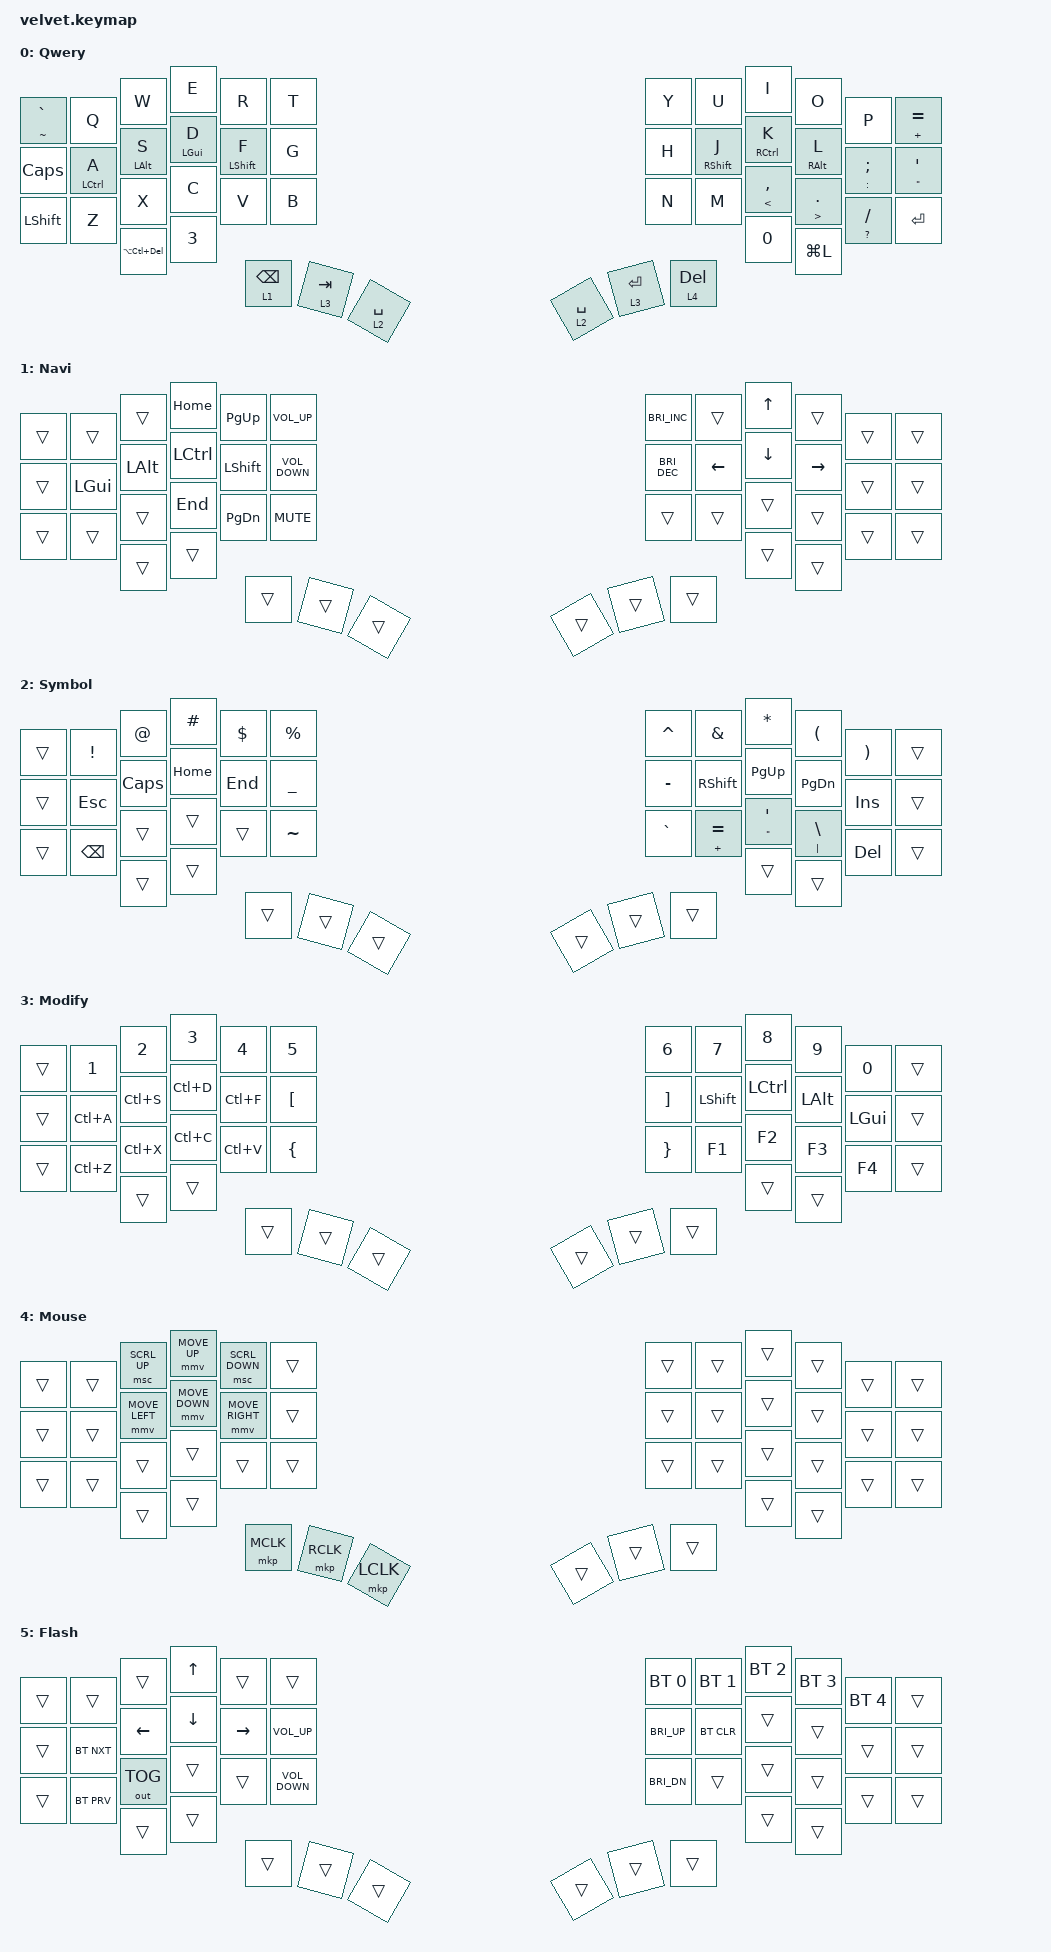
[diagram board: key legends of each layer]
/*
 * Copyright (c) 2020 The ZMK Contributors
 *
 * SPDX-License-Identifier: MIT
 */

#include <input/processors.dtsi>
#include <behaviors.dtsi>
#include <dt-bindings/zmk/bt.h>
#include <dt-bindings/zmk/keys.h>
#include <dt-bindings/zmk/outputs.h>
#include <dt-bindings/zmk/pointing.h>

#define SCROLLER 1
#define MOUSE 4

&mt {
    tapping-term-ms = <200>;
    flavor = "tap-preferred";
};

&sk {
    release-after-ms = <2000>;
    quick-release;
};

/ {
    combos {
        compatible = "zmk,combos";

        left_bkt {
            bindings = <&kp LBKT>;
            key-positions = <3 4>;
            timeout-ms = <50>;
        };

        right_bkt {
            bindings = <&kp RBKT>;
            key-positions = <7 8>;
            timeout-ms = <50>;
        };

        left_par {
            bindings = <&kp LEFT_PARENTHESIS>;
            key-positions = <15 16>;
            timeout-ms = <50>;
        };

        right_par {
            bindings = <&kp RIGHT_PARENTHESIS>;
            key-positions = <19 20>;
            timeout-ms = <50>;
        };

        left_brace {
            bindings = <&kp LEFT_BRACE>;
            key-positions = <27 28>;
            timeout-ms = <50>;
        };

        right_brace {
            bindings = <&kp RIGHT_BRACE>;
            key-positions = <32 33>;
            timeout-ms = <50>;
        };

        bac {
            bindings = <&kp BACKSLASH>;
            key-positions = <5 6>;
            timeout-ms = <50>;
        };

        pipe {
            bindings = <&kp PIPE>;
            key-positions = <17 18>;
            timeout-ms = <50>;
        };

        esc {
            bindings = <&kp ESC>;
            key-positions = <0 1>;
            timeout-ms = <50>;
        };

        plus {
            bindings = <&kp PLUS>;
            key-positions = <6 7>;
            timeout-ms = <50>;
        };

        equal {
            bindings = <&kp EQUAL>;
            key-positions = <18 19>;
            timeout-ms = <50>;
        };

        flash {
            bindings = <&bootloader>;
            key-positions = <10 11>;
            layers = <5>;
        };
    };

    behaviors {
        hml: homerow_mods_left {
            compatible = "zmk,behavior-hold-tap";
            label = "HOMEROW_MODS_LEFT";
            #binding-cells = <2>;
            tapping-term-ms = <200>;
            flavor = "balanced";
            bindings = <&kp>, <&kp>;

            quick-tap-ms = <180>;
            require-prior-idle-ms = <125>;
            hold-trigger-on-release;
            hold-trigger-key-positions = <21 22 19 20>;
        };

        ltq: ltq {
            compatible = "zmk,behavior-hold-tap";
            label = "LTQ";
            #binding-cells = <2>;
            tapping-term-ms = <200>;
            flavor = "hold-preferred";
            bindings = <&mo>, <&kp>;

            quick-tap-ms = <180>;
        };

        as: as {
            compatible = "zmk,behavior-hold-tap";
            label = "AUTO_SHIFT";
            bindings = <&kp>, <&kp>;

            #binding-cells = <2>;
            tapping-term-ms = <135>;
            quick-tap-ms = <0>;
            flavor = "tap-preferred";
        };

        hmr: hmr {
            compatible = "zmk,behavior-hold-tap";
            label = "HMR";
            bindings = <&kp>, <&kp>;

            #binding-cells = <2>;
            tapping-term-ms = <250>;
            quick-tap-ms = <150>;
            require-prior-idle-ms = <125>;
            flavor = "balanced";
            hold-trigger-key-positions = <15 16 14 13>;
            hold-trigger-on-release;
        };
    };

    keymap {
        compatible = "zmk,keymap";

        Qwery {
            bindings = <
&as TILDE GRAVE  &kp Q                &kp W               &kp E            &kp R              &kp T       &kp Y         &kp U               &kp I                &kp O                    &kp P                &as PLUS EQUAL
&kp CAPSLOCK     &hml LEFT_CONTROL A  &hml LEFT_ALT S     &hml LEFT_GUI D  &hml LEFT_SHIFT F  &kp G       &kp H         &hmr RIGHT_SHIFT J  &hmr RCTRL K         &hmr RIGHT_ALT L         &as COLON SEMICOLON  &as DOUBLE_QUOTES SINGLE_QUOTE
&kp LEFT_SHIFT   &kp Z                &kp X               &kp C            &kp V              &kp B       &kp N         &kp M               &as LESS_THAN COMMA  &as GREATER_THAN PERIOD  &as QUESTION SLASH   &kp ENTER
                 &ltq 2 SPACE         &kp LA(LC(DELETE))  &kp NUMBER_3     &ltq 1 BACKSPACE   &ltq 3 TAB  &ltq 3 ENTER  &ltq 4 DELETE       &kp N0               &kp LG(L)                &ltq 2 SPACE
            >;

            label = "Qwery";
        };

        Navi {
            bindings = <
&trans  &trans        &trans        &kp HOME          &kp PAGE_UP     &kp C_VOLUME_UP    &kp C_BRIGHTNESS_INC  &trans    &kp UP_ARROW    &trans           &trans  &trans
&trans  &kp LEFT_GUI  &kp LEFT_ALT  &kp LEFT_CONTROL  &kp LEFT_SHIFT  &kp C_VOLUME_DOWN  &kp C_BRIGHTNESS_DEC  &kp LEFT  &kp DOWN_ARROW  &kp RIGHT_ARROW  &trans  &trans
&trans  &trans        &trans        &kp END           &kp PAGE_DOWN   &kp K_MUTE         &trans                &trans    &trans          &trans           &trans  &trans
        &trans        &trans        &trans            &trans          &trans             &trans                &trans    &trans          &trans           &trans
            >;

            label = "Navi";
        };

        Symbol {
            bindings = <
&trans  &kp EXCLAMATION  &kp AT_SIGN   &kp HASH  &kp DOLLAR  &kp PERCENT  &kp CARET  &kp AMPERSAND    &kp STAR                        &kp LEFT_PARENTHESIS  &kp RIGHT_PARENTHESIS  &trans
&trans  &kp ESCAPE       &kp CAPSLOCK  &kp HOME  &kp END     &kp UNDER    &kp MINUS  &kp RIGHT_SHIFT  &kp PAGE_UP                     &kp PAGE_DOWN         &kp INSERT             &trans
&trans  &kp BACKSPACE    &trans        &trans    &trans      &kp TILDE    &kp GRAVE  &as PLUS EQUAL   &as DOUBLE_QUOTES SINGLE_QUOTE  &as PIPE BACKSLASH    &kp DEL                &trans
        &trans           &trans        &trans    &trans      &trans       &trans     &trans           &trans                          &trans                &trans
            >;

            label = "Symbol";
        };

        Modify {
            bindings = <
&trans  &kp NUMBER_1  &kp NUMBER_2  &kp NUMBER_3  &kp NUMBER_4  &kp NUMBER_5      &kp NUMBER_6       &kp NUMBER_7    &kp NUMBER_8      &kp NUMBER_9  &kp NUMBER_0  &trans
&trans  &kp LC(A)     &kp LC(S)     &kp LC(D)     &kp LC(F)     &kp LEFT_BRACKET  &kp RIGHT_BRACKET  &kp LEFT_SHIFT  &kp LEFT_CONTROL  &kp LEFT_ALT  &kp LEFT_GUI  &trans
&trans  &kp LC(Z)     &kp LC(X)     &kp LC(C)     &kp LC(V)     &kp LEFT_BRACE    &kp RIGHT_BRACE    &kp F1          &kp F2            &kp F3        &kp F4        &trans
        &trans        &trans        &trans        &trans        &trans            &trans             &trans          &trans            &trans        &trans
            >;

            label = "Modify";
        };

        Mouse {
            bindings = <
&trans  &trans     &msc SCRL_UP    &mmv MOVE_UP    &msc SCRL_DOWN   &trans     &trans  &trans  &trans  &trans  &trans  &trans
&trans  &trans     &mmv MOVE_LEFT  &mmv MOVE_DOWN  &mmv MOVE_RIGHT  &trans     &trans  &trans  &trans  &trans  &trans  &trans
&trans  &trans     &trans          &trans          &trans           &trans     &trans  &trans  &trans  &trans  &trans  &trans
        &mkp LCLK  &trans          &trans          &mkp MCLK        &mkp RCLK  &trans  &trans  &trans  &trans  &trans
            >;

            label = "Mouse";
        };

        Flash {
            bindings = <
&trans &trans      &trans        &kp UP    &trans     &trans             &bt BT_SEL 0  &bt BT_SEL 1  &bt BT_SEL 2  &bt BT_SEL 3  &bt BT_SEL 4  &trans
&trans                  &bt BT_NXT  &kp LEFT      &kp DOWN  &kp RIGHT  &kp C_VOLUME_UP    &kp C_BRI_UP  &bt BT_CLR    &trans        &trans        &trans        &trans
&trans                  &bt BT_PRV  &out OUT_TOG  &trans    &trans     &kp C_VOLUME_DOWN  &kp C_BRI_DN  &trans        &trans        &trans        &trans        &trans
                        &trans      &trans        &trans    &trans     &trans             &trans        &trans        &trans        &trans        &trans
            >;

            label = "Flash";
        };
    };

    conditional_layers {
        compatible = "zmk,conditional-layers";

        Flash {
            if-layers = <2 3>;
            then-layer = <5>;
        };
    };
};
